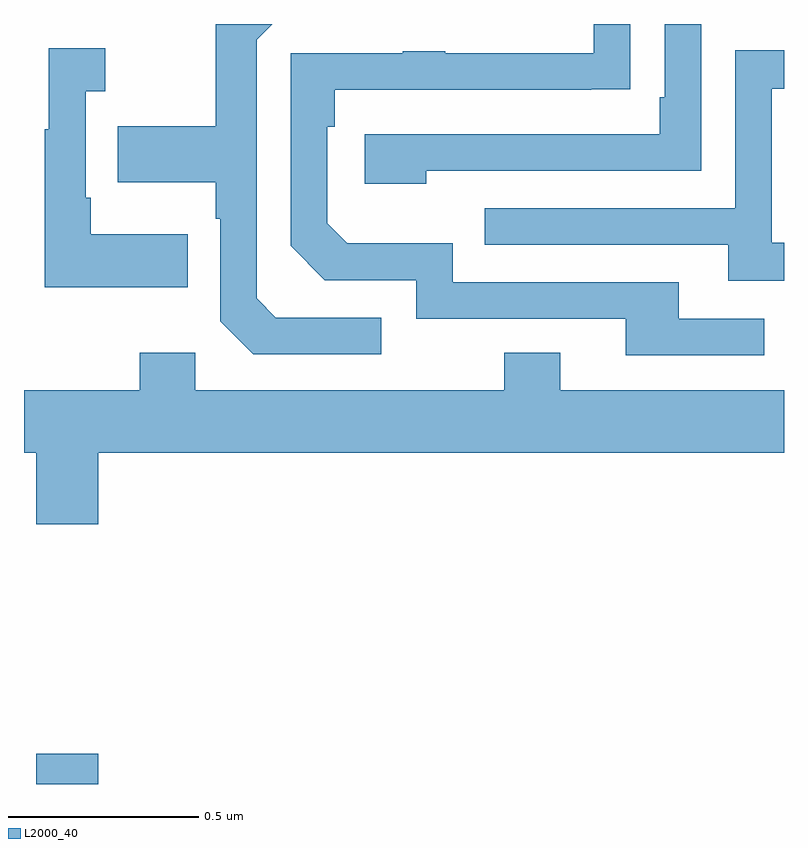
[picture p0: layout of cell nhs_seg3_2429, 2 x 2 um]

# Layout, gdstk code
import gdstk
lib = gdstk.Library(unit=1e-6, precision=1e-09)
def R(c, l, rs):  # rectangles x0, y0, x1, y1
    for r in rs: c.add(gdstk.rectangle(r[:2], r[2:], *l))
def P(c, l, *ps):  # polygons
    for p in ps: c.add(gdstk.Polygon(p, *l))
L2000_40 = (2000, 40)

nhs_seg3_2429 = lib.new_cell('nhs_seg3_2429')
R(nhs_seg3_2429, L2000_40, [(141.032,677.4,141.196,677.479)])
P(nhs_seg3_2429, L2000_40, [(142.058,679.014),(142.782,679.014),(142.782,679.4),(142.686,679.4),(142.686,679.207),(142.673,679.207),(142.673,679.11),(141.897,679.11),(141.897,678.98),(142.058,678.98)],
  [(142.948,678.624),(142.723,678.624),(142.723,678.72),(142.128,678.72),(142.128,678.823),(141.851,678.823),(141.798,678.876),(141.798,679.13),(141.818,679.13),(141.818,679.227),(142.493,679.227),(142.493,679.228),(142.595,679.228),(142.595,679.4),(142.499,679.4),(142.499,679.323),(142.109,679.323),(142.109,679.328),(141.997,679.328),(141.997,679.323),(141.702,679.323),(141.702,678.816),(141.792,678.726),(142.032,678.726),(142.032,678.624),(142.583,678.624),(142.583,678.528),(142.948,678.528)],
  [(141.94,678.627),(141.663,678.627),(141.612,678.678),(141.612,679.359),(141.653,679.4),(141.504,679.4),(141.504,679.131),(141.247,679.131),(141.247,678.983),(141.504,678.983),(141.504,678.887),(141.516,678.887),(141.516,678.618),(141.603,678.531),(141.94,678.531)],
  [(141.431,678.847),(141.175,678.847),(141.175,678.943),(141.162,678.943),(141.162,679.223),(141.214,679.223),(141.214,679.336),(141.065,679.336),(141.065,679.123),(141.054,679.123),(141.054,678.707),(141.431,678.707)],
  [(143,678.825),(142.968,678.825),(142.968,679.23),(143,679.23),(143,679.331),(142.872,679.331),(142.872,678.915),(142.213,678.915),(142.213,678.819),(142.853,678.819),(142.853,678.725),(143,678.725)],
  [(141.196,678.272),(143,678.272),(143,678.436),(142.411,678.436),(142.411,678.535),(142.264,678.535),(142.264,678.436),(141.45,678.436),(141.45,678.535),(141.304,678.535),(141.304,678.436),(141,678.436),(141,678.272),(141.032,678.272),(141.032,678.084),(141.196,678.084)])

lib.write_gds('nhs_seg3_2429.gds')
